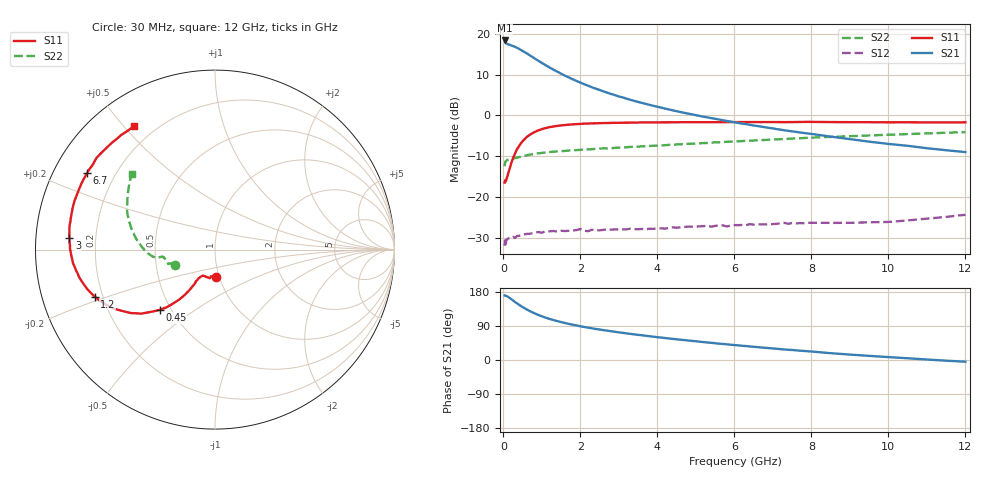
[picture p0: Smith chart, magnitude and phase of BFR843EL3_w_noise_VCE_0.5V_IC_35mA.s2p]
! Infineon Technologies  Discrete & RF Semiconductors
! BFR843EL3
! VCE =  0.5 V,  IC =  35 mA
! Common Emitter S-Parameters:  Aug 2013
# GHz  S  MA  R  50
!  f  S11  S21  S12  S22
! GHz  MAG  ANG  MAG  ANG  MAG  ANG  MAG  ANG
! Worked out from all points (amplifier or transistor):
!   103 points, 30 MHz to 12 GHz, reference 50 ohm
!   highest |S21| = 18.3 dB at 30 MHz (marker M1)
!   |S21| within 3 dB of that: start of sweep to 576.4 MHz
!   unconditionally stable (mu >= 1): start of sweep to end of sweep
!   at 400 MHz: K = 1.82, MAG = 17.6 dB, |S12| = -29.4 dB
!   at 3.7 GHz: K = 2.43, MAG = 8.7 dB, |S12| = -27.8 dB
!   at 12 GHz: K = 4.75, MAG = -2.1 dB, |S12| = -24.3 dB
!   lowest NFmin = 1.43 dB at 450 MHz
!   S11 on the Smith chart (normalised r, x): 30 MHz: 0.97, -0.30; 450 MHz: 0.44, -0.37; 1.2 GHz: 0.17, -0.18; 3 GHz: 0.10, +0.04; 6.7 GHz: 0.10, +0.27; 12 GHz: 0.12, +0.54
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0.03  0.1515 -86.9  8.248 170.3  0.0256 24.9  0.2395 -159.2
0.04  0.151 -99.1  7.989 169.9  0.0297 22.4  0.2548 -162.7
0.06  0.1594 -114.9  7.684 169.6  0.0253 21.0  0.2739 -166.8
0.07  0.1615 -115.3  7.6 169.2  0.0299 13.3  0.2782 -168.2
0.1  0.1789 -118.8  7.469 167.8  0.031 11.3  0.2854 -170.2
0.2  0.2592 -122.0  7.192 160.9  0.0319 7.3  0.2936 -172.2
0.3  0.3423 -125.6  6.897 153.1  0.0319 9.4  0.3013 -172.5
0.45  0.455 -132.5  6.328 142.7  0.0343 10.9  0.3137 -172.3
0.6  0.5438 -139.0  5.753 133.6  0.0357 10.5  0.3258 -172.1
0.8  0.6245 -147.0  5.008 123.5  0.0368 11.1  0.3374 -172.8
1  0.6815 -153.3  4.373 115.2  0.0369 8.9  0.3487 -173.6
1.2  0.7202 -158.7  3.848 108.3  0.0384 10.0  0.3579 -174.6
1.4  0.746 -163.0  3.425 102.6  0.038 9.6  0.3637 -175.4
1.6  0.7643 -166.9  3.06 97.6  0.0387 10.5  0.3687 -176.3
2.1  0.7948 -174.5  2.408 87.1  0.039 9.4  0.3831 -178.2
3  0.8136 175.5  1.706 73.0  0.0404 12.3  0.4042 178.4
4.1  0.8235 166.2  1.245 59.1  0.0418 14.2  0.4306 174.1
6.1  0.8302 152.7  0.811 38.5  0.0457 17.1  0.4845 165.3
6.7  0.8299 149.0  0.73 33.0  0.0467 18.6  0.5 162.3
8.5  0.8305 138.8  0.552 18.0  0.0487 18.4  0.547 153.5
10.5  0.8252 129.2  0.426 4.6  0.0522 25.1  0.5923 144.3
12  0.8237 123.1  0.357 -4.5  0.0612 27.2  0.6263 137.8
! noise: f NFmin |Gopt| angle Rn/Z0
0.45  1.43  0.2  177  0.13
0.9  1.45  0.21  174  0.12
1.5  1.45  0.23  173  0.11
1.9  1.44  0.23  174  0.11
2.4  1.46  0.25  178  0.11
3.5  1.46  0.26  182  0.11
5.5  1.47  0.33  195  0.09
8  1.49  0.43  210  0.09
10  1.5  0.51  227  0.11
